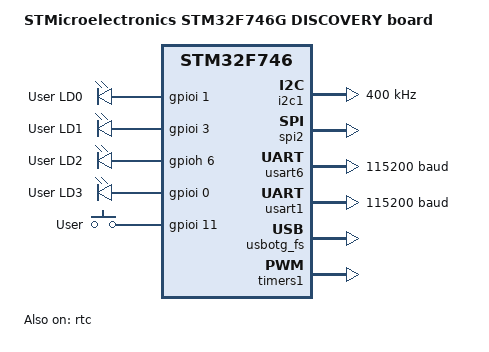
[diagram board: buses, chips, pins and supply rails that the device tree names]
/*
 * Copyright (c) 2018 Yurii Hamann
 *
 * SPDX-License-Identifier: Apache-2.0
 */

/dts-v1/;
#include <st/f7/stm32f746Xg.dtsi>

/ {
	model = "STMicroelectronics STM32F746G DISCOVERY board";
	compatible = "st,stm32f746g-disco", "st,stm32f746";

	chosen {
		zephyr,console = &usart1;
		zephyr,shell-uart = &usart1;
		zephyr,sram = &sram0;
		zephyr,flash = &flash0;
	};

	leds {
		compatible = "gpio-leds";
		green_led_0: led_0 {
			gpios = <&gpioi 1 GPIO_INT_ACTIVE_HIGH>;
			label = "User LD0";
		};
    
		green_led_1: led_1 {
			gpios = <&gpioi 3>;
			label = "User LD1";
		};
		green_led_2: led_2 {
			gpios = <&gpioh 6>;
			label = "User LD2";
		};
		green_led_3: led_3 {
			gpios = <&gpioi 0>;
			label = "User LD3";
		};
    
    
	};

	gpio_keys {
		compatible = "gpio-keys";
		user_button: button {
			label = "User";
			gpios = <&gpioi 11 GPIO_INT_ACTIVE_HIGH>;
		};
	};

	aliases {
		led0 = &green_led_0;
    led1 = &green_led_1;
    led2 = &green_led_2;
    led3 = &green_led_3;
		sw0 = &user_button;
	};
};

arduino_i2c: &i2c1 {};
arduino_spi: &spi2 {};
arduino_serial: &usart6 {};

&i2c1 {
	status = "ok";
	clock-frequency = <I2C_BITRATE_FAST>;
};

&spi2 {
	status = "ok";
};

&usart1 {
	current-speed = <115200>;
	pinctrl-names = "default";
	status = "ok";
};

&usart6 {
	current-speed = <115200>;
	pinctrl-names = "default";
	status = "ok";
};

&usbotg_fs {
	status = "ok";
};

&timers1 {
	status = "ok";

	pwm {
		status = "ok";
	};
};

&rtc {
	status = "ok";
};

&flash0 {
  partitions {
    compatible = "fixed-partitions";
    #address-cells = <1>;
    #size-cells = <1>;

    raw_info_label: partition@0 {
            label = "raw_info";
            reg = <0x00000000 0x1000>;
    };
    active_image_label: partition@1000 {
            label = "active_image";
            reg = <0x00001000 0x400000>;
    };
    golden_image_label: partition@401000 {
            label = "golden_image";
            reg = <0x00401000 0x400000>;
    };
    storage_partition: partition@801000 {
            label = "sopas-data";
            reg = <0x00801000 0x400000>;
    };
  };
};


